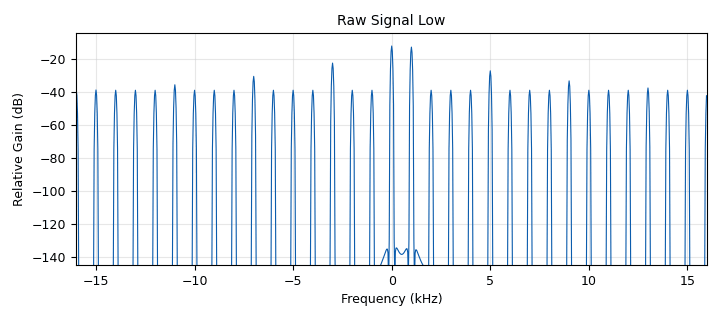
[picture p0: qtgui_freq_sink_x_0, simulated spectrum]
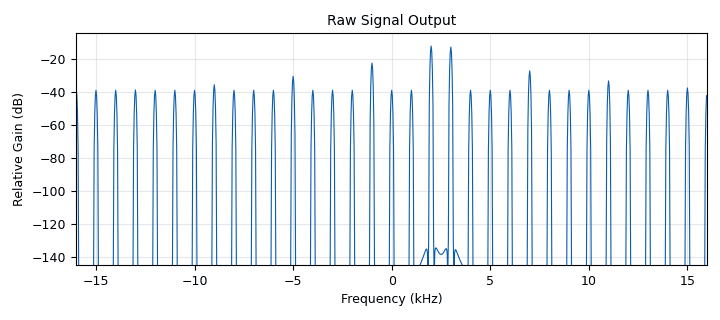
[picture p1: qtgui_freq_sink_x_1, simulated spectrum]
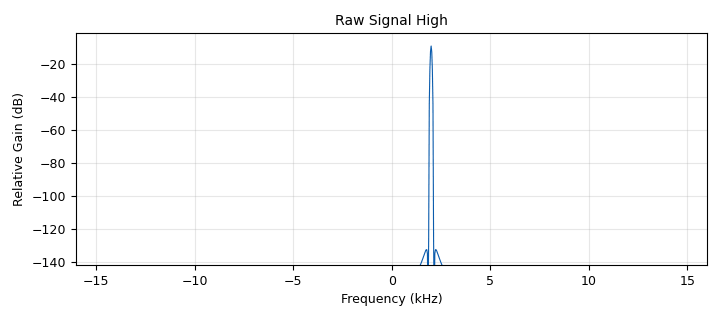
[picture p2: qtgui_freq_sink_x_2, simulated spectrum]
options:
  parameters:
    generate_options: qt_gui
    id: freq_shift
    output_language: python
    title: freq shift square
  states: {}

blocks:
- name: samp_rate
  id: variable
  parameters:
    value: '32000'
  states: {}
- name: analog_sig_source_x_0
  id: analog_sig_source_x
  parameters:
    amp: '1'
    freq: '1000'
    offset: '0'
    phase: '0'
    samp_rate: samp_rate
    type: complex
    waveform: analog.GR_SQR_WAVE
  states: {}
- name: analog_sig_source_x_1
  id: analog_sig_source_x
  parameters:
    amp: '1'
    freq: '2000'
    offset: '0'
    phase: '0'
    samp_rate: samp_rate
    type: complex
    waveform: analog.GR_COS_WAVE
  states: {}
- name: blocks_multiply_xx_0
  id: blocks_multiply_xx
  parameters:
    type: complex
  states: {}
- name: blocks_throttle_0
  id: blocks_throttle
  parameters:
    samples_per_second: samp_rate
    type: complex
  states: {}
- name: qtgui_freq_sink_x_0
  id: qtgui_freq_sink_x
  parameters:
    autoscale: 'True'
    bw: samp_rate
    ctrlpanel: 'True'
    fc: '0'
    fftsize: '1024'
    grid: 'True'
    name: '"Raw Signal Low"'
    type: complex
  states: {}
- name: qtgui_freq_sink_x_1
  id: qtgui_freq_sink_x
  parameters:
    autoscale: 'True'
    bw: samp_rate
    ctrlpanel: 'True'
    fc: '0'
    fftsize: '1024'
    grid: 'True'
    name: '"Raw Signal Output"'
    type: complex
  states: {}
- name: qtgui_freq_sink_x_2
  id: qtgui_freq_sink_x
  parameters:
    autoscale: 'True'
    bw: samp_rate
    ctrlpanel: 'True'
    fc: '0'
    fftsize: '1024'
    grid: 'True'
    name: '"Raw Signal High"'
    type: complex
  states: {}
- name: qtgui_time_sink_x_0
  id: qtgui_time_sink_x
  parameters:
    autoscale: 'True'
    color2: green
    grid: 'True'
    name: '"Scope"'
    size: '1024'
    srate: samp_rate
    style1: '3'
    type: complex
  states: {state: disabled}

connections:
- [analog_sig_source_x_0, '0', blocks_throttle_0, '0']
- [analog_sig_source_x_1, '0', blocks_multiply_xx_0, '1']
- [analog_sig_source_x_1, '0', qtgui_freq_sink_x_2, '0']
- [blocks_multiply_xx_0, '0', qtgui_freq_sink_x_1, '0']
- [blocks_multiply_xx_0, '0', qtgui_time_sink_x_0, '0']
- [blocks_throttle_0, '0', blocks_multiply_xx_0, '0']
- [blocks_throttle_0, '0', qtgui_freq_sink_x_0, '0']

metadata:
  file_format: 1
  grc_version: 3.10.5.1
